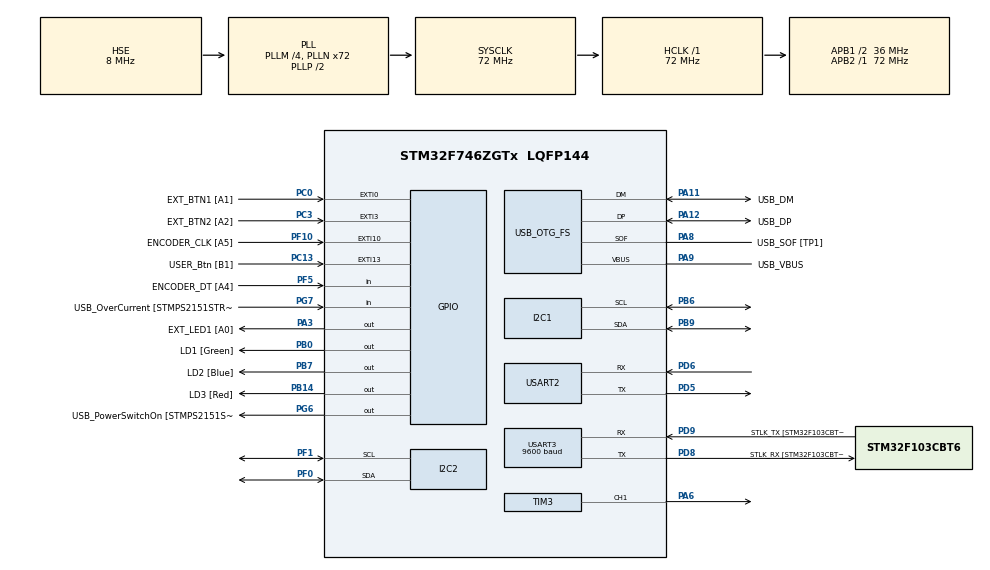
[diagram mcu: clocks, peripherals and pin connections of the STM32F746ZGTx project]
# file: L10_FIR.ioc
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I2C1.Timing=0x00808CD2
I2C2.Timing=0x00808CD2
Mcu.Family=STM32F7
Mcu.Name=STM32F746ZGTx
Mcu.Package=LQFP144
NVIC.EXTI0_IRQn=true\:0\:0\:false\:false\:true\:true\:true
NVIC.EXTI15_10_IRQn=true\:0\:0\:false\:false\:true\:true\:true
NVIC.EXTI3_IRQn=true\:0\:0\:false\:false\:true\:true\:true
NVIC.PriorityGroup=NVIC_PRIORITYGROUP_4
NVIC.TIM3_IRQn=true\:0\:0\:false\:false\:true\:true\:true
NVIC.TIM4_IRQn=true\:0\:0\:false\:false\:true\:true\:true
NVIC.USART3_IRQn=true\:0\:0\:false\:false\:true\:true\:true
PA1.GPIO_Label=RMII_REF_CLK [LAN8742A-CZ-TR_REFCLK0]
PA1.Signal=ETH_REF_CLK
PA10.GPIO_Label=USB_ID
PA10.Signal=USB_OTG_FS_ID
PA11.GPIO_Label=USB_DM
PA11.Mode=Device_Only
PA11.Signal=USB_OTG_FS_DM
PA12.GPIO_Label=USB_DP
PA12.Mode=Device_Only
PA12.Signal=USB_OTG_FS_DP
PA13.GPIO_Label=TMS
PA13.Mode=Serial_Wire
PA13.Signal=SYS_JTMS-SWDIO
PA14.GPIO_Label=TCK
PA14.Mode=Serial_Wire
PA14.Signal=SYS_JTCK-SWCLK
PA2.GPIO_Label=RMII_MDIO [LAN8742A-CZ-TR_MDIO]
PA2.Signal=ETH_MDIO
PA3.GPIO_Label=EXT_LED1 [A0]
PA3.Signal=GPIO_Output
PA6.Signal=S_TIM3_CH1
PA7.GPIO_Label=RMII_CRS_DV [LAN8742A-CZ-TR_CRS_DV]
PA7.Signal=ETH_CRS_DV
PA8.GPIO_Label=USB_SOF [TP1]
PA8.Mode=Activate_SOF_FS
PA8.Signal=USB_OTG_FS_SOF
PA9.GPIO_Label=USB_VBUS
PA9.Mode=Activate_VBUS
PA9.Signal=USB_OTG_FS_VBUS
PB0.GPIO_Label=LD1 [Green]
PB0.Signal=GPIO_Output
PB13.GPIO_Label=RMII_TXD1 [LAN8742A-CZ-TR_TXD1]
PB13.Signal=ETH_TXD1
PB14.GPIO_Label=LD3 [Red]
PB14.Signal=GPIO_Output
PB3.GPIO_Label=SW0
PB3.Signal=SYS_JTDO-SWO
PB6.Mode=I2C
PB6.Signal=I2C1_SCL
PB7.GPIO_Label=LD2 [Blue]
PB7.Signal=GPIO_Output
PB9.Mode=I2C
PB9.Signal=I2C1_SDA
PC0.GPIO_Label=EXT_BTN1 [A1]
PC0.GPIO_ModeDefaultEXTI=GPIO_MODE_IT_FALLING
PC0.Signal=GPXTI0
PC1.GPIO_Label=RMII_MDC [LAN8742A-CZ-TR_MDC]
PC1.Signal=ETH_MDC
PC13.GPIO_Label=USER_Btn [B1]
PC13.Signal=GPXTI13
PC14/OSC32_IN.Mode=LSE-External-Oscillator
PC14/OSC32_IN.Signal=RCC_OSC32_IN
PC15/OSC32_OUT.Mode=LSE-External-Oscillator
PC15/OSC32_OUT.Signal=RCC_OSC32_OUT
PC3.GPIO_Label=EXT_BTN2 [A2]
PC3.GPIO_ModeDefaultEXTI=GPIO_MODE_IT_RISING
PC3.Signal=GPXTI3
PC4.GPIO_Label=RMII_RXD0 [LAN8742A-CZ-TR_RXD0]
PC4.Signal=ETH_RXD0
PC5.GPIO_Label=RMII_RXD1 [LAN8742A-CZ-TR_RXD1]
PC5.Signal=ETH_RXD1
PD5.Mode=Asynchronous
PD5.Signal=USART2_TX
PD6.Mode=Asynchronous
PD6.Signal=USART2_RX
PD8.GPIO_Label=STLK_RX [STM32F103CBT6_PA3]
PD8.Mode=Asynchronous
PD8.Signal=USART3_TX
PD9.GPIO_Label=STLK_TX [STM32F103CBT6_PA2]
PD9.Mode=Asynchronous
PD9.Signal=USART3_RX
PF0.Mode=I2C
PF0.Signal=I2C2_SDA
PF1.Mode=I2C
PF1.Signal=I2C2_SCL
PF10.GPIO_Label=ENCODER_CLK [A5]
PF10.Signal=GPXTI10
PF5.GPIO_Label=ENCODER_DT [A4]
PF5.Signal=GPIO_Input
PG11.GPIO_Label=RMII_TX_EN [LAN8742A-CZ-TR_TXEN]
PG11.Signal=ETH_TX_EN
PG13.GPIO_Label=RMII_TXD0 [LAN8742A-CZ-TR_TXD0]
PG13.Signal=ETH_TXD0
PG6.GPIO_Label=USB_PowerSwitchOn [STMPS2151STR_EN]
PG6.Signal=GPIO_Output
PG7.GPIO_Label=USB_OverCurrent [STMPS2151STR_FAULT]
PG7.Signal=GPIO_Input
PH0/OSC_IN.GPIO_Label=MCO [STM32F103CBT6_PA8]
PH0/OSC_IN.Mode=HSE-External-Clock-Source
PH0/OSC_IN.Signal=RCC_OSC_IN
PH1/OSC_OUT.Mode=HSE-External-Clock-Source
PH1/OSC_OUT.Signal=RCC_OSC_OUT
ProjectManager.HeapSize=0x200
ProjectManager.StackSize=0x400
ProjectManager.TargetToolchain=STM32CubeIDE
RCC.48MHZClocksFreq_Value=24000000
RCC.AHBFreq_Value=72000000
RCC.APB1CLKDivider=RCC_HCLK_DIV2
RCC.APB1Freq_Value=36000000
RCC.APB1TimFreq_Value=72000000
RCC.APB2Freq_Value=72000000
RCC.APB2TimFreq_Value=72000000
RCC.CortexFreq_Value=72000000
RCC.HCLKFreq_Value=72000000
RCC.HSE_VALUE=8000000
RCC.HSI_VALUE=16000000
RCC.PLLM=4
RCC.PLLMUL=RCC_PLL_MUL9
RCC.PLLN=72
RCC.PLLQ=3
RCC.PRESCALERUSB=RCC_USBCLKSOURCE_PLL_DIV1_5
RCC.SYSCLKFreq_VALUE=72000000
RCC.SYSCLKSource=RCC_SYSCLKSOURCE_PLLCLK
RCC.SYSCLKSourceVirtual=RCC_SYSCLKSOURCE_PLLCLK
RCC.USBFreq_Value=48000000
RCC.VCOOutputFreq_Value=144000000
SH.S_TIM3_CH1.0=TIM3_CH1,PWM Generation1 CH1
TIM3.Channel-PWM\ Generation1\ CH1=TIM_CHANNEL_1
TIM3.Period=999
TIM3.Prescaler=71
TIM4.Period=9999
TIM4.Prescaler=7199
USART2.VirtualMode-Asynchronous=VM_ASYNC
USART3.BaudRate=9600
USART3.VirtualMode-Asynchronous=VM_ASYNC
USB_OTG_FS.VirtualMode=Device_Only
VP_TIM3_VS_ClockSourceINT.Mode=Internal
VP_TIM4_VS_ClockSourceINT.Mode=Internal
board=NUCLEO-F746ZG

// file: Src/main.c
/* USER CODE BEGIN Header */
/**
  ******************************************************************************
  * @file           : main.c
  * @brief          : Main program body
  ******************************************************************************
  * @attention
  *
  * <h2><center>&copy; Copyright (c) 2019 STMicroelectronics.
  * All rights reserved.</center></h2>
  *
  * This software component is licensed by ST under BSD 3-Clause license,
  * the "License"; You may not use this file except in compliance with the
  * License. You may obtain a copy of the License at:
  *                        opensource.org/licenses/BSD-3-Clause
  *
  ******************************************************************************
  */
/* USER CODE END Header */

#include "main.h"
#include "i2c.h"
#include "tim.h"
#include "usart.h"
#include "usb_otg.h"
#include "gpio.h"

/* USER CODE BEGIN Includes */
#include "wojtusFunkcje.h"
#include "bh1750.h"
#include "i2c-lcd.h"

#include "arm_math.h"
#include "math_helper.h"

#include "stdio.h"
#include "string.h"

/* USER CODE END Includes */

/* USER CODE BEGIN PV */

/* wzmocnienia */
float Kp = 0.28f;
float Kd = 0.0005f;
float Ki = 0.07f;

int BH1750_int = 0; // odczyt
int varZ = 0; // wartosc zadana
int odebrana_wiadomosc[4];

arm_pid_instance_f32 PID; //regulator pid

/* USER CODE END PV */

void SystemClock_Config(void);

int main(void)
{
  /* USER CODE BEGIN 1 */

  // nadanie wartosci wzmocnien regulatora
  PID.Kp = Kp;
  PID.Ki = Ki;
  PID.Kd = Kd;
  /* USER CODE END 1 */

  /* MCU Configuration--------------------------------------------------------*/

  /* Reset of all peripherals, Initializes the Flash interface and the Systick. */
  HAL_Init();

  /* Configure the system clock */
  SystemClock_Config();

  /* Initialize all configured peripherals */
  MX_GPIO_Init();
  MX_USB_OTG_FS_PCD_Init();
  MX_I2C1_Init();
  MX_I2C2_Init();
  MX_TIM3_Init();
  MX_TIM4_Init();
  MX_USART2_UART_Init();
  MX_USART3_UART_Init();
  /* USER CODE BEGIN 2 */

  BH1750_Init(&hi2c1);
  BH1750_SetMode(CONTINUOUS_HIGH_RES_MODE_2);
  lcd_init();
  arm_pid_init_f32(&PID, 1);

  HAL_TIM_Base_Start_IT(&htim4);
  HAL_TIM_PWM_Start(&htim3, TIM_CHANNEL_1);

  HAL_UART_Receive_IT(&huart3, &odebrana_wiadomosc, 4);

  /* USER CODE END 2 */

  /* Infinite loop */
  /* USER CODE BEGIN WHILE */
  while (1)
  {
	  	  	  	BH1750_int = odczytBH1750();
	  	  	  	obliczPID(varZ, BH1750_int, &PID);
	  	  	  	HAL_Delay(100);

    /* USER CODE END WHILE */

  }
}

void SystemClock_Config(void)
{
  RCC_OscInitTypeDef RCC_OscInitStruct = {0};
  RCC_ClkInitTypeDef RCC_ClkInitStruct = {0};
  RCC_PeriphCLKInitTypeDef PeriphClkInitStruct = {0};

  /** Configure LSE Drive Capability
  */
  HAL_PWR_EnableBkUpAccess();
  /** Configure the main internal regulator output voltage
  */
  __HAL_RCC_PWR_CLK_ENABLE();
  __HAL_PWR_VOLTAGESCALING_CONFIG(PWR_REGULATOR_VOLTAGE_SCALE3);
  /** Initializes the CPU, AHB and APB busses clocks
  */
  RCC_OscInitStruct.OscillatorType = RCC_OSCILLATORTYPE_HSE;
  RCC_OscInitStruct.HSEState = RCC_HSE_BYPASS;
  RCC_OscInitStruct.PLL.PLLState = RCC_PLL_ON;
  RCC_OscInitStruct.PLL.PLLSource = RCC_PLLSOURCE_HSE;
  RCC_OscInitStruct.PLL.PLLM = 4;
  RCC_OscInitStruct.PLL.PLLN = 72;
  RCC_OscInitStruct.PLL.PLLP = RCC_PLLP_DIV2;
  RCC_OscInitStruct.PLL.PLLQ = 3;
  if (HAL_RCC_OscConfig(&RCC_OscInitStruct) != HAL_OK)
  {
    Error_Handler();
  }
  /** Initializes the CPU, AHB and APB busses clocks
  */
  RCC_ClkInitStruct.ClockType = RCC_CLOCKTYPE_HCLK|RCC_CLOCKTYPE_SYSCLK
                              |RCC_CLOCKTYPE_PCLK1|RCC_CLOCKTYPE_PCLK2;
  RCC_ClkInitStruct.SYSCLKSource = RCC_SYSCLKSOURCE_PLLCLK;
  RCC_ClkInitStruct.AHBCLKDivider = RCC_SYSCLK_DIV1;
  RCC_ClkInitStruct.APB1CLKDivider = RCC_HCLK_DIV2;
  RCC_ClkInitStruct.APB2CLKDivider = RCC_HCLK_DIV1;

  if (HAL_RCC_ClockConfig(&RCC_ClkInitStruct, FLASH_LATENCY_2) != HAL_OK)
  {
    Error_Handler();
  }
  PeriphClkInitStruct.PeriphClockSelection = RCC_PERIPHCLK_USART2|RCC_PERIPHCLK_USART3
                              |RCC_PERIPHCLK_I2C1|RCC_PERIPHCLK_I2C2
                              |RCC_PERIPHCLK_CLK48;
  PeriphClkInitStruct.Usart2ClockSelection = RCC_USART2CLKSOURCE_PCLK1;
  PeriphClkInitStruct.Usart3ClockSelection = RCC_USART3CLKSOURCE_PCLK1;
  PeriphClkInitStruct.I2c1ClockSelection = RCC_I2C1CLKSOURCE_PCLK1;
  PeriphClkInitStruct.I2c2ClockSelection = RCC_I2C2CLKSOURCE_PCLK1;
  PeriphClkInitStruct.Clk48ClockSelection = RCC_CLK48SOURCE_PLL;
  if (HAL_RCCEx_PeriphCLKConfig(&PeriphClkInitStruct) != HAL_OK)
  {
    Error_Handler();
  }
}

/* USER CODE BEGIN 4 */
void HAL_TIM_PeriodElapsedCallback (TIM_HandleTypeDef * htim)
{
	if(htim->Instance == TIM4)
	{
		//char bf[15];
			//int siize =sprintf(&bf,"Odczyt: %d",BH1750_int);
			//HAL_UART_Transmit(&huart3, bf, siize, 100);
		obslugaLCD(varZ, BH1750_int);
	}
}
void HAL_UART_RxCpltCallback(UART_HandleTypeDef *huart)
{
	varZ = atoi(odebrana_wiadomosc);

	HAL_UART_Receive_IT(&huart3, &odebrana_wiadomosc, 4);
}
void HAL_GPIO_EXTI_Callback(uint16_t GPIO_Pin)
{

}
/* USER CODE END 4 */

void Error_Handler(void)
{
  /* USER CODE BEGIN Error_Handler_Debug */
  /* User can add his own implementation to report the HAL error return state */
  HAL_GPIO_WritePin(LD1_GPIO_Port, LD1_Pin, GPIO_PIN_RESET);
  HAL_GPIO_WritePin(LD2_GPIO_Port, LD2_Pin, GPIO_PIN_RESET);
  HAL_GPIO_WritePin(LD3_GPIO_Port, LD3_Pin, GPIO_PIN_RESET);
  while(1)
  {
	//  HAL_GPIO_TogglePin(LD3_GPIO_Port, LD3_Pin);
	  HAL_Delay(100);
  }
  /* USER CODE END Error_Handler_Debug */
}

/************************ (C) COPYRIGHT STMicroelectronics *****END OF FILE****/
